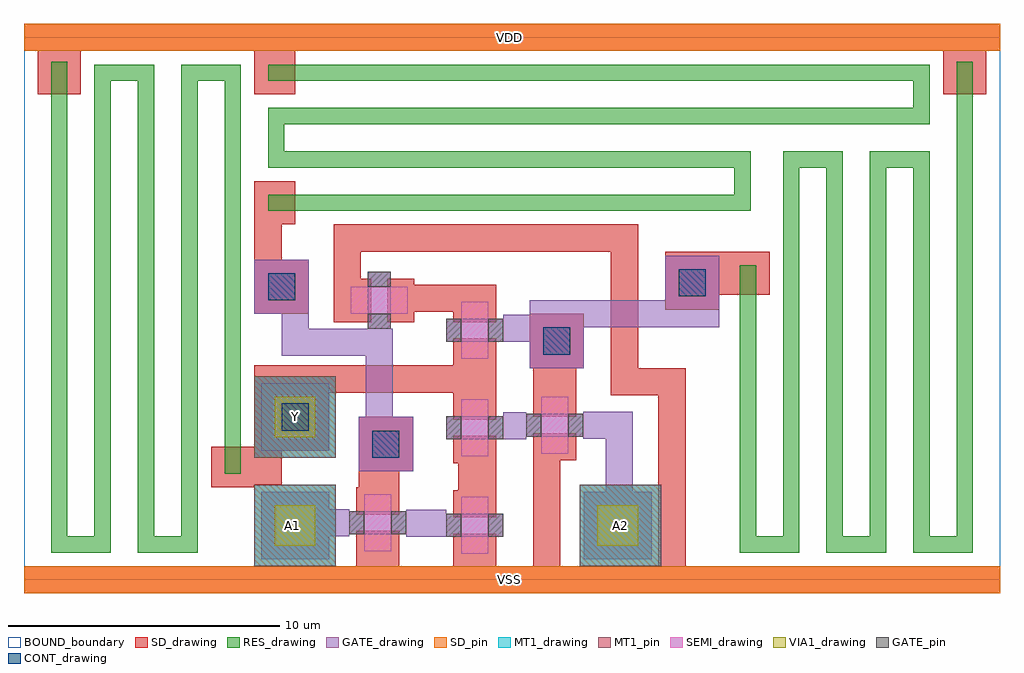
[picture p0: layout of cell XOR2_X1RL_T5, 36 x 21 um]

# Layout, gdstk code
from math import pi, radians
import gdstk
lib = gdstk.Library(unit=1e-6, precision=1e-09)
def R(c, l, rs):  # rectangles x0, y0, x1, y1
    for r in rs: c.add(gdstk.rectangle(r[:2], r[2:], *l))
def P(c, l, *ps):  # polygons
    for p in ps: c.add(gdstk.Polygon(p, *l))
RES_drawing = (1, 0)
SEMI_drawing = (3, 0)
SD_drawing = (10, 0)
SD_pin = (10, 3)
GATE_drawing = (11, 0)
GATE_pin = (11, 3)
MT1_drawing = (20, 0)
MT1_pin = (20, 3)
CONT_drawing = (30, 0)
VIA1_drawing = (41, 0)
BOUND_boundary = (150, 5)

nch_cdns_772545164840 = lib.new_cell('nch_CDNS_772545164840')
R(nch_cdns_772545164840, SEMI_drawing, [(-1.05,-0.5,1.05,0.5)])
R(nch_cdns_772545164840, SD_drawing, [(-1.3,-0.8,-0.3,0.8), (0.3,-0.8,1.3,0.8)])
R(nch_cdns_772545164840, GATE_drawing, [(-0.425,-1.05,0.425,1.05)])
R(nch_cdns_772545164840, GATE_pin, [(-0.425,-1.05,0.425,-0.5), (-0.425,0.5,0.425,1.05)])

gate_mt1_cdns_7725451648 = lib.new_cell('GATE_MT1_CDNS_772545164840')
R(gate_mt1_cdns_7725451648, GATE_drawing, [(-1.25,-1.25,1.25,1.25)])
R(gate_mt1_cdns_7725451648, MT1_drawing, [(-1.25,-1.25,1.25,1.25)])
R(gate_mt1_cdns_7725451648, VIA1_drawing, [(-0.75,-0.75,0.75,0.75)])

sd_gate_cdns_77254516484 = lib.new_cell('SD_GATE_CDNS_772545164841')
R(sd_gate_cdns_77254516484, SD_drawing, [(-1,-1,1,1)])
R(sd_gate_cdns_77254516484, GATE_drawing, [(-1,-1,1,1)])
R(sd_gate_cdns_77254516484, CONT_drawing, [(-0.5,-0.5,0.5,0.5)])

xor2_x1rl_t5 = lib.new_cell('XOR2_X1RL_T5')
R(xor2_x1rl_t5, SD_drawing, [(8.75,4.75,11.25,7.25), (18.775,7,20.375,7.8), (14.4,9.875,17.425,10.875), (23.65,10.5,27.5,12.1), (8.5,13.1,10,14.7), (0.5,17.9,2.1,19.5), (8.5,17.9,10,19.5), (33.9,17.9,35.5,19.5)])
R(xor2_x1rl_t5, SD_pin, [(0,-0.5,36,0.5), (0,19.5,36,20.5)])
P(xor2_x1rl_t5, GATE_drawing, [(17.775,9.775),(17.775,8.775),(17.675,8.775),(17.675,8.8),(17.625,8.8),(17.625,9.55),(17.675,9.55),(17.675,9.775)],
  [(11.9,2.6),(11.9,1.6),(12,1.6),(12,1.725),(12.05,1.725),(12.05,2.475),(12,2.475),(12,2.6)],
  [(13.6,9.125),(12.6,9.125),(12.6,9.25),(12.725,9.25),(12.725,9.3),(13.475,9.3),(13.475,9.25),(13.6,9.25)],
  [(14.2,2.575),(14.2,1.575),(14.1,1.575),(14.1,1.7),(14.05,1.7),(14.05,2.45),(14.1,2.45),(14.1,2.575)],
  [(15.475,2.575),(15.475,1.575),(15.575,1.575),(15.575,1.6),(15.625,1.6),(15.625,2.35),(15.575,2.35),(15.575,2.575)])
R(xor2_x1rl_t5, MT1_drawing, [(8.5,0.5,11.5,3.5), (8.5,0.5,11.5,3.5), (20.5,0.5,23.5,3.5), (8.5,4.5,11.5,7.5)])
R(xor2_x1rl_t5, MT1_pin, [(8.5,0.5,11.5,3.5), (20.5,0.5,23.5,3.5), (8.5,4.5,11.5,7.5)])
R(xor2_x1rl_t5, BOUND_boundary, [(0,0,36,20)])
xor2_x1rl_t5.add(gdstk.FlexPath([(22.15,7.3),(22.15,12.6),(12.3,12.6)], 1, ends="extended", simple_path=True, layer=10, datatype=0))  # SD_drawing
xor2_x1rl_t5.add(gdstk.FlexPath([(13.15,3.4),(13.15,4.9)], 1.4, ends="flush", simple_path=True, layer=10, datatype=0))  # SD_drawing
xor2_x1rl_t5.add(gdstk.FlexPath([(9,3.5),(9,7.4)], 1, ends=(0, 0.5), simple_path=True, layer=10, datatype=0))  # SD_drawing
xor2_x1rl_t5.add(gdstk.FlexPath([(22.15,7.3),(23.85,7.3)], 1, ends="extended", simple_path=True, layer=10, datatype=0))  # SD_drawing
xor2_x1rl_t5.add(gdstk.FlexPath([(9,13.1),(9,11.8)], 1, ends="flush", simple_path=True, layer=10, datatype=0))  # SD_drawing
xor2_x1rl_t5.add(gdstk.FlexPath([(11.925,12.6),(11.925,9.5)], 1, ends=(0.5, 0), simple_path=True, layer=10, datatype=0))  # SD_drawing
xor2_x1rl_t5.add(gdstk.FlexPath([(13.05,0),(35.3,0)], 1, ends=(0.8, 0.7), simple_path=True, layer=10, datatype=0))  # SD_drawing
xor2_x1rl_t5.add(gdstk.FlexPath([(6.9,4.15),(8.5,4.15)], 1.5, ends="flush", simple_path=True, layer=10, datatype=0))  # SD_drawing
xor2_x1rl_t5.add(gdstk.FlexPath([(23.9,7.3),(23.9,0.5)], 1, ends=(0.5, 0), simple_path=True, layer=10, datatype=0))  # SD_drawing
xor2_x1rl_t5.add(gdstk.FlexPath([(16.725,3.3),(16.725,4.3)], 1.4, ends="flush", simple_path=True, layer=10, datatype=0))  # SD_drawing
xor2_x1rl_t5.add(gdstk.FlexPath([(13.05,3.4),(13.05,4.9)], 1.4, ends="flush", simple_path=True, layer=10, datatype=0))  # SD_drawing
xor2_x1rl_t5.add(gdstk.FlexPath([(19.275,4.4),(19.275,0.1)], 1, ends="flush", simple_path=True, layer=10, datatype=0))  # SD_drawing
xor2_x1rl_t5.add(gdstk.FlexPath([(16.625,0.7),(16.625,0)], 1.6, ends="flush", simple_path=True, layer=10, datatype=0))  # SD_drawing
xor2_x1rl_t5.add(gdstk.FlexPath([(13.05,0),(13.05,0.8)], 1.6, ends=(0.5, 0), simple_path=True, layer=10, datatype=0))  # SD_drawing
xor2_x1rl_t5.add(gdstk.FlexPath([(9,7.4),(16.725,7.4)], 1, ends=(0.5, 0.7), simple_path=True, layer=10, datatype=0))  # SD_drawing
xor2_x1rl_t5.add(gdstk.FlexPath([(0,20),(36,20)], 1, ends="flush", simple_path=True, layer=10, datatype=0))  # SD_drawing
xor2_x1rl_t5.add(gdstk.FlexPath([(0,0),(13.05,0)], 1, ends=(0, 0.8), simple_path=True, layer=10, datatype=0))  # SD_drawing
xor2_x1rl_t5.add(gdstk.FlexPath([(17.775,9.275),(18.65,9.275)], 1, ends="flush", simple_path=True, layer=11, datatype=0))  # GATE_drawing
xor2_x1rl_t5.add(gdstk.FlexPath([(10,11.3),(10,8.75)], 1, ends="extended", simple_path=True, layer=11, datatype=0))  # GATE_drawing
xor2_x1rl_t5.add(gdstk.FlexPath([(18.65,9.8),(25.65,9.8)], 1, ends="flush", simple_path=True, layer=11, datatype=0))  # GATE_drawing
xor2_x1rl_t5.add(gdstk.FlexPath([(10,8.75),(13.1,8.75)], 1, ends="extended", simple_path=True, layer=11, datatype=0))  # GATE_drawing
xor2_x1rl_t5.add(gdstk.FlexPath([(20.625,5.7),(21.95,5.7)], 1, ends=(0, 0.5), simple_path=True, layer=11, datatype=0))  # GATE_drawing
xor2_x1rl_t5.add(gdstk.FlexPath([(17.675,5.675),(18.525,5.675)], 1, ends="flush", simple_path=True, layer=11, datatype=0))  # GATE_drawing
xor2_x1rl_t5.add(gdstk.FlexPath([(14.1,2.075),(15.575,2.075)], 1, ends="flush", simple_path=True, layer=11, datatype=0))  # GATE_drawing
xor2_x1rl_t5.add(gdstk.FlexPath([(12,2.1),(11.75,2.1)], 1, ends=(0, 0.5), simple_path=True, layer=11, datatype=0))  # GATE_drawing
xor2_x1rl_t5.add(gdstk.FlexPath([(21.95,5.7),(21.95,3.25)], 1, ends=(0.5, 0), simple_path=True, layer=11, datatype=0))  # GATE_drawing
xor2_x1rl_t5.add(gdstk.FlexPath([(13.1,8.75),(13.1,6)], 1, ends=(0.5, 0), simple_path=True, layer=11, datatype=0))  # GATE_drawing
xor2_x1rl_t5.add(gdstk.FlexPath([(1.3,19.1),(1.3,1.3),(2.9,1.3),(2.9,18.7),(4.5,18.7),(4.5,1.3),(6.1,1.3),(6.1,18.7),(7.7,18.7),(7.7,3.9)], 0.6, ends="flush", simple_path=True, layer=1, datatype=0))  # RES_drawing
xor2_x1rl_t5.add(gdstk.FlexPath([(9,18.7),(33.1,18.7),(33.1,17.1),(9.3,17.1),(9.3,15.5),(26.5,15.5),(26.5,13.9),(9,13.9)], 0.6, ends="flush", simple_path=True, layer=1, datatype=0))  # RES_drawing
xor2_x1rl_t5.add(gdstk.FlexPath([(34.7,19.1),(34.7,1.3),(33.1,1.3),(33.1,15.5),(31.5,15.5),(31.5,1.3),(29.9,1.3),(29.9,15.5),(28.3,15.5),(28.3,1.3),(26.7,1.3),(26.7,11.6)], 0.6, ends="flush", simple_path=True, layer=1, datatype=0))  # RES_drawing
xor2_x1rl_t5.add(gdstk.Reference(nch_cdns_772545164840, (19.575,5.7), rotation=pi/2))
xor2_x1rl_t5.add(gdstk.Reference(nch_cdns_772545164840, (13.05,2.1), rotation=pi/2))
xor2_x1rl_t5.add(gdstk.Reference(nch_cdns_772545164840, (16.625,2), rotation=pi/2))
xor2_x1rl_t5.add(gdstk.Reference(nch_cdns_772545164840, (13.1,10.3), x_reflection=True))
xor2_x1rl_t5.add(gdstk.Reference(nch_cdns_772545164840, (16.625,9.2), rotation=3*pi/2))
xor2_x1rl_t5.add(gdstk.Reference(nch_cdns_772545164840, (16.625,5.6), rotation=3*pi/2))
xor2_x1rl_t5.add(gdstk.Reference(gate_mt1_cdns_7725451648, (10,6), rotation=pi, x_reflection=True))
xor2_x1rl_t5.add(gdstk.Reference(gate_mt1_cdns_7725451648, (10,6)))
xor2_x1rl_t5.add(gdstk.Reference(gate_mt1_cdns_7725451648, (10,2), rotation=pi, x_reflection=True))
xor2_x1rl_t5.add(gdstk.Reference(gate_mt1_cdns_7725451648, (21.9,2), rotation=pi, x_reflection=True))
xor2_x1rl_t5.add(gdstk.Reference(sd_gate_cdns_77254516484, (9.5,10.8)))
xor2_x1rl_t5.add(gdstk.Reference(sd_gate_cdns_77254516484, (24.65,10.95)))
xor2_x1rl_t5.add(gdstk.Reference(sd_gate_cdns_77254516484, (19.65,8.8)))
xor2_x1rl_t5.add(gdstk.Reference(sd_gate_cdns_77254516484, (13.35,5)))
xor2_x1rl_t5.add(gdstk.Reference(sd_gate_cdns_77254516484, (10,6)))
xor2_x1rl_t5.add(gdstk.Label('A1', (9.9,2), layer=20, texttype=3))
xor2_x1rl_t5.add(gdstk.Label('A2', (22,2), layer=20, texttype=3))
xor2_x1rl_t5.add(gdstk.Label('A1', (9.9,2), layer=20, texttype=3))
xor2_x1rl_t5.add(gdstk.Label('Y', (10,6), layer=20, texttype=3))
xor2_x1rl_t5.add(gdstk.Label('VSS', (17.9,0), layer=10, texttype=3))
xor2_x1rl_t5.add(gdstk.Label('VDD', (17.9,20), layer=10, texttype=3))

lib.write_gds('XOR2_X1RL_T5.gds')
